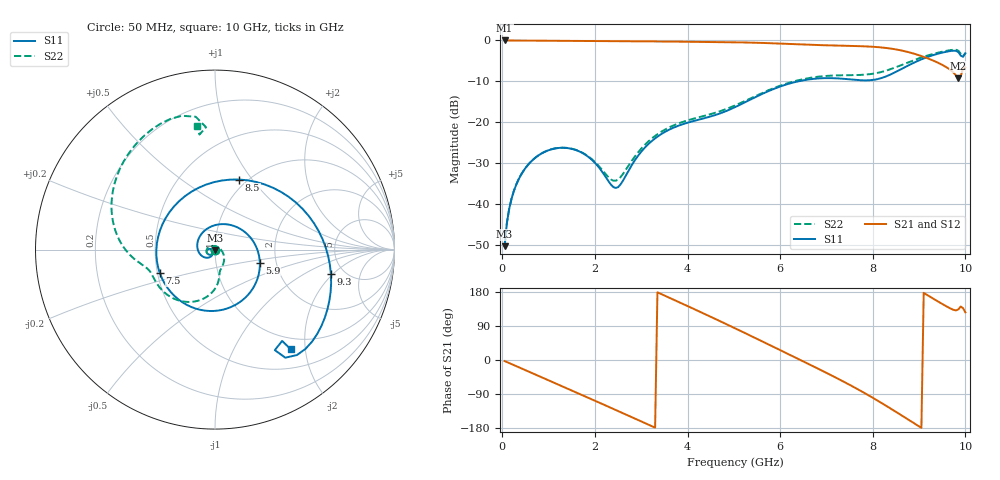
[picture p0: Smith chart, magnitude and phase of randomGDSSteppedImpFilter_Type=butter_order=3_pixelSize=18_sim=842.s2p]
! freq	dB(S11)	phase(S11)	dB(S12)	phase(S12)
!  dB(S21)	phase(S21)	dB(S22)	phase(S22)
!S-par simulation data
#  GHz  S  DB  R 50
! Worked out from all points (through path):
!   200 points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, 50 MHz to 10 GHz, reference 50 ohm
!   highest |S21| = -0.01 dB at 50 MHz (marker M1); lowest = -9.3 dB at 9.85 GHz (marker M2)
!   group delay of S21, straight-line fit = 166 ps
!   lowest |S11| = -50.3 dB at 50 MHz (marker M3), VSWR 1.01, Z = 50 - j0.303 ohm
!   |S11| at or under -10 dB: start of sweep to 6.394 GHz
!   |S22| runs from -50.3 to -2.3 dB; largest |S21 - S12| = 0
!   S11 on the Smith chart (normalised r, x): 50 MHz: 1.00, -0.01; 5.9 GHz: 1.64, -0.26; 7.5 GHz: 0.51, -0.15; 8.5 GHz: 0.92, +0.86; 9.3 GHz: 3.91, -1.90; 10 GHz: 0.80, -1.73
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0.05  -50.34 -85.1  -0.01 -2.7  -0.01 -2.7  -50.31 -85.2
0.1  -44.59 -91.5  -0.01 -5.4  -0.01 -5.4  -44.58 -91.5
0.2  -38.71 -99.2  -0.02 -10.8  -0.02 -10.8  -38.70 -99.1
0.55  -30.51 -120.0  -0.04 -29.6  -0.04 -29.6  -30.50 -120.0
1.2  -26.33 -154.9  -0.08 -64.4  -0.08 -64.4  -26.31 -157.0
1.75  -27.67 179.7  -0.11 -93.9  -0.11 -93.9  -27.60 167.4
2.45  -36.09 -153.6  -0.15 -131.9  -0.15 -131.9  -34.32 64.0
2.95  -27.95 -118.4  -0.20 -159.3  -0.20 -159.3  -27.14 -17.8
3.4  -23.15 -140.1  -0.25 175.8  -0.25 175.8  -22.58 -46.7
4.3  -19.22 146.2  -0.35 125.5  -0.35 125.5  -18.63 -75.1
5.05  -16.20 65.6  -0.45 82.3  -0.45 82.3  -15.79 -82.1
5.9  -11.70 -16.2  -0.72 32.1  -0.72 32.1  -11.49 -99.8
6.7  -9.43 -82.6  -1.08 -15.7  -1.08 -15.7  -9.06 -127.7
7.5  -9.52 -156.8  -1.33 -65.5  -1.33 -65.5  -8.50 -153.7
7.9  -9.76 154.2  -1.48 -92.6  -1.48 -92.6  -8.30 -162.4
8.35  -8.51 91.1  -1.93 -125.4  -1.93 -125.4  -7.17 -171.5
8.5  -7.69 71.2  -2.20 -136.8  -2.20 -136.8  -6.55 -175.8
8.9  -5.38 24.9  -3.27 -167.6  -3.27 -167.6  -4.77 167.0
9.3  -3.61 -12.0  -4.91 162.3  -4.91 162.3  -3.31 143.1
9.6  -2.74 -35.6  -6.62 140.9  -6.62 140.9  -2.52 121.6
9.85  -2.87 -56.9  -9.27 133.7  -9.27 133.7  -2.52 98.3
10  -3.15 -52.8  -6.58 125.6  -6.58 125.6  -3.12 98.4
